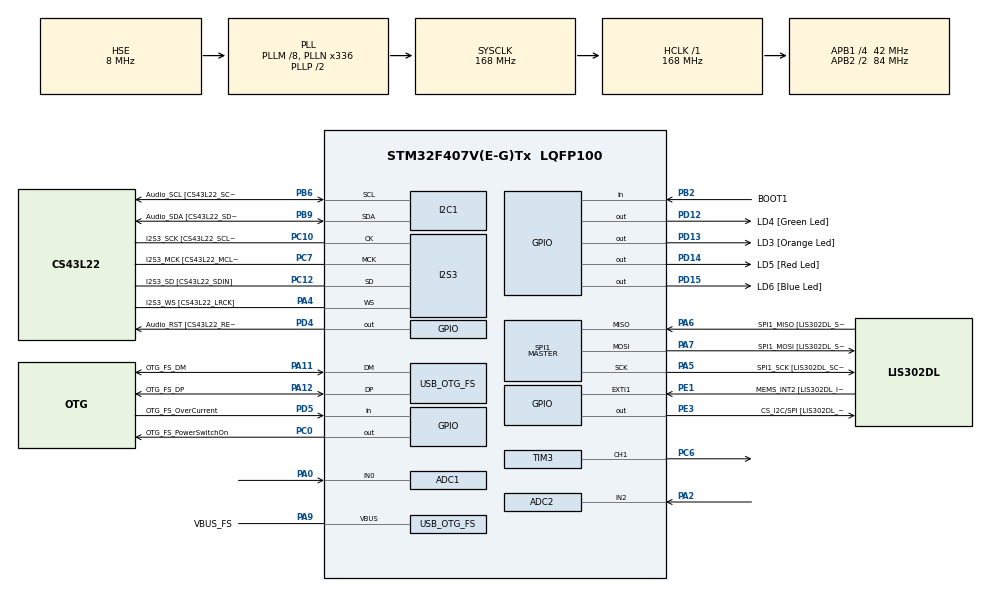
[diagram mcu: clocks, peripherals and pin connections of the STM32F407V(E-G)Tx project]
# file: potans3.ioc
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PA11.GPIO_Speed=GPIO_SPEED_FREQ_LOW
PD12.GPIO_Label=LD4 [Green Led]
PH0-OSC_IN.Signal=RCC_OSC_IN
PC10.GPIO_PuPd=GPIO_NOPULL
SPI1.VirtualType=VM_MASTER
PB10.GPIO_PuPd=GPIO_NOPULL
PA10.GPIO_PuPd=GPIO_NOPULL
PC12.Signal=I2S3_SD
PA14.GPIO_Label=SWCLK
PA6.GPIO_Label=SPI1_MISO [LIS302DL_SDO]
PB6.GPIO_Label=Audio_SCL [CS43L22_SCL]
PC15-OSC32_OUT.GPIO_Label=PC15-OSC32_OUT
PC3.GPIO_Speed=GPIO_SPEED_FREQ_LOW
RCC.SYSCLKSource=RCC_SYSCLKSOURCE_PLLCLK
PA6.GPIO_Mode=GPIO_MODE_AF_PP
PD14.GPIO_Speed=GPIO_SPEED_FREQ_LOW
PA4.Mode=Half_Duplex_Master
SPI1.Direction=SPI_DIRECTION_2LINES
I2S3.AudioFreq-Half_Duplex_Master=I2S_AUDIOFREQ_96K
PD4.Signal=GPIO_Output
RCC.APB2TimFreq_Value=168000000
Dma.ADC1.0.Direction=DMA_PERIPH_TO_MEMORY
PB6.Signal=I2C1_SCL
PC7.Signal=I2S3_MCK
PB6.Mode=I2C
PC3.Signal=I2S2_SD
PE1.Signal=GPXTI1
Dma.ADC1.0.MemDataAlignment=DMA_MDATAALIGN_HALFWORD
USB_OTG_FS.phy_itface=HCD_PHY_EMBEDDED
PB2.Signal=GPIO_Input
Dma.ADC2.1.Instance=DMA2_Stream2
I2S3.ErrorAudioFreq=-2.34 %
PA5.GPIO_PuPd=GPIO_NOPULL
Dma.ADC1.0.PeriphInc=DMA_PINC_DISABLE
I2S3.ErrorAudioFreq-Half_Duplex_Master=0.8 %
PD5.GPIO_Mode=GPIO_MODE_INPUT
PD14.GPIO_PuPd=GPIO_NOPULL
PB2.GPIO_PuPd=GPIO_NOPULL
ADC1.SamplingTime-0\#ChannelRegularConversion=ADC_SAMPLETIME_3CYCLES
SPI1.CalculateBaudRate-Full_Duplex_Master=42.0 MBits/s
Mcu.Package=LQFP100
PB9.Signal=I2C1_SDA
PD12.Signal=GPIO_Output
PA10.Signal=USB_OTG_FS_ID
PB9.GPIO_PuPd=GPIO_NOPULL
RCC.APB2CLKDivider=RCC_HCLK_DIV2
NVIC.DMA2_Stream2_IRQn=true\:0\:0\:false\:false\:true\:false\:true
RCC.APB1TimFreq_Value=84000000
Dma.ADC1.0.FIFOMode=DMA_FIFOMODE_DISABLE
ADC2.Rank-2\#ChannelRegularConversion=1
PC12.GPIO_PuPd=GPIO_NOPULL
PA6.GPIO_Speed=GPIO_SPEED_FREQ_LOW
PA12.GPIO_PuPd=GPIO_NOPULL
PA4.GPIO_Label=I2S3_WS [CS43L22_LRCK]
PD15.Signal=GPIO_Output
Dma.ADC2.1.PeriphDataAlignment=DMA_PDATAALIGN_HALFWORD
PC0.PinState=GPIO_PIN_SET
PA5.Mode=Full_Duplex_Master
I2S3.FullDuplexMode=I2S_FULLDUPLEXMODE_DISABLE
Dma.ADC1.0.Instance=DMA2_Stream0
ADC1.Rank-0\#ChannelRegularConversion=1
TIM3.AutoReloadPreload=TIM_AUTORELOAD_PRELOAD_ENABLE
PA9.GPIO_Label=VBUS_FS
PB6.GPIO_PuPd=GPIO_NOPULL
PC6.Signal=S_TIM3_CH1
PA11.GPIO_Label=OTG_FS_DM
PE1.GPIO_PuPd=GPIO_NOPULL
PC0.Signal=GPIO_Output
RCC.APB1CLKDivider=RCC_HCLK_DIV4
PC14-OSC32_IN.Signal=RCC_OSC32_IN
PA0-WKUP.Signal=ADCx_IN0
USB_HOST0.BSP.STBoard=false
PC10.GPIO_Mode=GPIO_MODE_AF_PP
PB10.GPIO_Mode=GPIO_MODE_AF_PP
Dma.ADC1.0.Priority=DMA_PRIORITY_LOW
PA9.Signal=USB_OTG_FS_VBUS
I2S3.VirtualMode=I2S_MODE_MASTER
PC7.GPIO_PuPd=GPIO_NOPULL
PB10.Signal=I2S2_CK
PA5.Signal=SPI1_SCK
Dma.ADC2.1.FIFOMode=DMA_FIFOMODE_DISABLE
PC12.Mode=Half_Duplex_Master
PE1.GPIO_Label=MEMS_INT2 [LIS302DL_INT2]
USB_HOST.VirtualModeFS=Cdc
PA7.GPIO_Speed=GPIO_SPEED_FREQ_LOW
ADC2.Channel-2\#ChannelRegularConversion=ADC_CHANNEL_2
PB2.GPIO_Mode=GPIO_MODE_INPUT
SPI1.Mode=SPI_MODE_MASTER
PD4.GPIO_Speed=GPIO_SPEED_FREQ_LOW
PE3.GPIO_PuPd=GPIO_NOPULL
PH1-OSC_OUT.GPIO_Label=PH1-OSC_OUT
ADC1.DMAContinuousRequests=ENABLE
Dma.ADC2.1.MemInc=DMA_MINC_ENABLE
PA13.Mode=Serial_Wire
PC7.GPIO_Label=I2S3_MCK [CS43L22_MCLK]
PA4.Signal=I2S3_WS
PC12.GPIO_Mode=GPIO_MODE_AF_PP
Dma.ADC2.1.Direction=DMA_PERIPH_TO_MEMORY
ADC1.master=1
PA5.GPIO_Label=SPI1_SCK [LIS302DL_SCL/SPC]
ADC2.NbrOfConversionFlag=1
PE3.GPIO_Speed=GPIO_SPEED_FREQ_LOW
PC12.GPIO_Label=I2S3_SD [CS43L22_SDIN]
PA11.Signal=USB_OTG_FS_DM
ProjectManager.HeapSize=0x200
NVIC.PriorityGroup=NVIC_PRIORITYGROUP_0
PE3.Signal=GPIO_Output
PC3.GPIO_Label=PDM_OUT [MP45DT02_DOUT]
I2S3.Instance=SPI$Index
PB6.GPIO_Speed=GPIO_SPEED_FREQ_LOW
SPI1.BaudRatePrescaler-Full_Duplex_Master=SPI_BAUDRATEPRESCALER_2
USB_HOST0.BSP.mode=Output
Mcu.Family=STM32F4
PC3.GPIO_Mode=GPIO_MODE_AF_PP
PA6.Mode=Full_Duplex_Master
RCC.CortexFreq_Value=168000000
PB10.GPIO_Speed=GPIO_SPEED_FREQ_LOW
PB6.GPIO_Mode=GPIO_MODE_AF_OD
ADC1.ContinuousConvMode=ENABLE
SH.ADCx_IN2.0=ADC2_IN2,IN2
PD15.GPIO_Speed=GPIO_SPEED_FREQ_LOW
PC10.Signal=I2S3_CK
PA7.GPIO_Mode=GPIO_MODE_AF_PP
PC0.GPIO_Label=OTG_FS_PowerSwitchOn
PA11.Mode=Host_Only
PC10.GPIO_Speed=GPIO_SPEED_FREQ_LOW
PA11.GPIO_PuPd=GPIO_NOPULL
ProjectManager.StackSize=0x400
SPI1.Mode-Full_Duplex_Master=SPI_MODE_MASTER
PD13.Signal=GPIO_Output
PA12.Signal=USB_OTG_FS_DP
ADC2.DMAContinuousRequests=ENABLE
RCC.HCLKFreq_Value=168000000
TIM3.Period=1000-1
NVIC.DMA2_Stream0_IRQn=true\:0\:0\:false\:false\:true\:false\:true
USB_HOST0.BSP.ip=GPIO
RCC.AHBFreq_Value=168000000
PH0-OSC_IN.Mode=HSE-External-Oscillator
PH0-OSC_IN.GPIO_Label=PH0-OSC_IN
TIM3.Channel-PWM\ Generation1\ CH1=TIM_CHANNEL_1
PA9.GPIO_Mode=GPIO_MODE_INPUT
ADC1.Channel-0\#ChannelRegularConversion=ADC_CHANNEL_0
RCC.HSE_VALUE=8000000
PA4.GPIO_PuPd=GPIO_NOPULL
PA4.GPIO_Speed=GPIO_SPEED_FREQ_LOW
PA6.GPIO_PuPd=GPIO_NOPULL
PC14-OSC32_IN.Mode=LSE-External-Oscillator
PA14.Mode=Serial_Wire
TIM3.Prescaler=1680-1
PA10.GPIO_Label=OTG_FS_ID
PC7.GPIO_Mode=GPIO_MODE_AF_PP
SH.ADCx_IN0.1=ADC2_IN0
Dma.ADC2.1.PeriphInc=DMA_PINC_DISABLE
SH.ADCx_IN0.0=ADC1_IN0,IN0
SH.S_TIM3_CH1.0=TIM3_CH1,PWM Generation1 CH1
USB_HOST0.BSP.i2creg=0
PH1-OSC_OUT.Mode=HSE-External-Oscillator
USB_HOST0.BSP.i2caddr=0
PD13.GPIO_Label=LD3 [Orange Led]
PA6.Signal=SPI1_MISO
USB_HOST.USBH_HandleTypeDef-CDC_FS=hUsbHostFS
PD5.GPIO_Label=OTG_FS_OverCurrent
NVIC.OTG_FS_IRQn=true\:0\:0\:false\:false\:true\:true\:true
PD15.GPIO_PuPd=GPIO_NOPULL
USB_OTG_FS.VirtualMode=Host_Only
PA10.GPIO_Speed=GPIO_SPEED_FREQ_LOW
USB_HOST0.BSP.name=Drive_VBUS_FS
PB9.GPIO_Speed=GPIO_SPEED_FREQ_LOW
ADC2.SamplingTime-2\#ChannelRegularConversion=ADC_SAMPLETIME_3CYCLES
Dma.Request1=ADC2
PC14-OSC32_IN.GPIO_Label=PC14-OSC32_IN
PC0.GPIO_PuPd=GPIO_NOPULL
Dma.Request0=ADC1
PA12.GPIO_Speed=GPIO_SPEED_FREQ_LOW
PB3.GPIO_Label=SWO
PC15-OSC32_OUT.Mode=LSE-External-Oscillator
PD12.GPIO_Speed=GPIO_SPEED_FREQ_LOW
PD15.GPIO_Label=LD6 [Blue Led]
PA7.Mode=Full_Duplex_Master
PB9.GPIO_Label=Audio_SDA [CS43L22_SDA]
PC10.GPIO_Label=I2S3_SCK [CS43L22_SCLK]
USB_HOST0.BSP.solution=PC0
PC10.Mode=Half_Duplex_Master
USB_HOST.BSP.number=1
PD5.Signal=GPIO_Input
PE1.GPIO_ModeDefaultEXTI=GPIO_MODE_EVT_RISING
PA9.GPIO_PuPd=GPIO_NOPULL
PA12.GPIO_Label=OTG_FS_DP
PA10.GPIO_Mode=GPIO_MODE_AF_PP
PA13.Signal=SYS_JTMS-SWDIO
PD4.GPIO_PuPd=GPIO_NOPULL
Dma.ADC1.0.PeriphDataAlignment=DMA_PDATAALIGN_HALFWORD
PA9.Mode=Activate_VBUS
PC0.GPIO_Speed=GPIO_SPEED_FREQ_LOW
I2S3.RealAudioFreq-Half_Duplex_Master=96.774 KHz
ProjectManager.TargetToolchain=STM32CubeIDE
PB10.GPIO_Label=CLK_IN [MP45DT02_CLK]
Dma.ADC1.0.Mode=DMA_CIRCULAR
PB9.Mode=I2C
Dma.ADC2.1.Mode=DMA_NORMAL
PC15-OSC32_OUT.Signal=RCC_OSC32_OUT
PA7.GPIO_PuPd=GPIO_NOPULL
board=STM32F407G-DISC1
PD13.GPIO_Speed=GPIO_SPEED_FREQ_LOW
PC7.GPIO_Speed=GPIO_SPEED_FREQ_LOW
RCC.VCOOutputFreq_Value=336000000
PB9.GPIO_Mode=GPIO_MODE_AF_OD
PA12.GPIO_Mode=GPIO_MODE_AF_PP
PA4.GPIO_Mode=GPIO_MODE_AF_PP
RCC.APB2Freq_Value=84000000
USB_HOST0.BSP.api=Unknown
PD4.GPIO_Label=Audio_RST [CS43L22_RESET]
PH1-OSC_OUT.Signal=RCC_OSC_OUT
PD13.GPIO_PuPd=GPIO_NOPULL
PD5.GPIO_PuPd=GPIO_NOPULL
PD14.GPIO_Label=LD5 [Red Led]
Mcu.Name=STM32F407V(E-G)Tx
PA2.Signal=ADCx_IN2
PA13.GPIO_Label=SWDIO
PD14.Signal=GPIO_Output
RCC.48MHZClocksFreq_Value=48000000
PB3.Signal=SYS_JTDO-SWO
RCC.SYSCLKFreq_VALUE=168000000
PA7.GPIO_Label=SPI1_MOSI [LIS302DL_SDA/SDI/SDO]
PA12.Mode=Host_Only
VP_USB_HOST_VS_USB_HOST_CDC_FS.Mode=CDC_FS
PA14.Signal=SYS_JTCK-SWCLK
Dma.ADC1.0.MemInc=DMA_MINC_ENABLE
PB2.GPIO_Label=BOOT1
RCC.HSI_VALUE=16000000
PA5.GPIO_Speed=GPIO_SPEED_FREQ_LOW
RCC.PLLQ=7
ADC1.NbrOfConversionFlag=1
I2S3.RealAudioFreq=93.75 KHz
Dma.ADC2.1.MemDataAlignment=DMA_MDATAALIGN_HALFWORD
RCC.PLLM=8
RCC.PLLN=336
PE3.GPIO_Label=CS_I2C/SPI [LIS302DL_CS_I2C/SPI]
Dma.ADC2.1.Priority=DMA_PRIORITY_LOW
PC7.Mode=Master_Clock_Activated
PA11.GPIO_Mode=GPIO_MODE_AF_PP
RCC.APB1Freq_Value=42000000
PA5.GPIO_Mode=GPIO_MODE_AF_PP
PC12.GPIO_Speed=GPIO_SPEED_FREQ_LOW
PC3.GPIO_PuPd=GPIO_NOPULL
PD12.GPIO_PuPd=GPIO_NOPULL
PA7.Signal=SPI1_MOSI
USB_HOST0.BSP.instance=PC0

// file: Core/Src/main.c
/* USER CODE BEGIN Header */
/**
  ******************************************************************************
  * @file           : main.c
  * @brief          : Main program body
  ******************************************************************************
  * @attention
  *
  * <h2><center>&copy; Copyright (c) 2021 STMicroelectronics.
  * All rights reserved.</center></h2>
  *
  * This software component is licensed by ST under Ultimate Liberty license
  * SLA0044, the "License"; You may not use this file except in compliance with
  * the License. You may obtain a copy of the License at:
  *                             www.st.com/SLA0044
  *
  ******************************************************************************
  */
/* USER CODE END Header */
#include "main.h"
#include "usb_host.h"

/* USER CODE BEGIN PTD */
#define bufferlength 4096
uint16_t adc_buf[bufferlength];
uint16_t adc_bufldr[bufferlength];
volatile float voltage = 0;
volatile uint8_t softCounter = 0;
volatile int timerval;
volatile int g_Indicator;
volatile int  pc6out;
#define V_REF 		(float)3.3
#define RES_12B 	4096
/* USER CODE END PTD */

ADC_HandleTypeDef hadc1;
ADC_HandleTypeDef hadc2;
DMA_HandleTypeDef hdma_adc1;
DMA_HandleTypeDef hdma_adc2;

I2C_HandleTypeDef hi2c1;

I2S_HandleTypeDef hi2s3;

SPI_HandleTypeDef hspi1;

TIM_HandleTypeDef htim3;

void SystemClock_Config(void);
static void MX_GPIO_Init(void);
static void MX_DMA_Init(void);
static void MX_I2C1_Init(void);
static void MX_I2S3_Init(void);
static void MX_SPI1_Init(void);
static void MX_ADC1_Init(void);
static void MX_TIM3_Init(void);
static void MX_ADC2_Init(void);
void MX_USB_HOST_Process(void);

int main(void)
{

  /* MCU Configuration--------------------------------------------------------*/

  /* Reset of all peripherals, Initializes the Flash interface and the Systick. */
  HAL_Init();

  /* Configure the system clock */
  SystemClock_Config();

  /* Initialize all configured peripherals */
  MX_GPIO_Init();
  MX_DMA_Init();
  MX_I2C1_Init();
  MX_I2S3_Init();
  MX_SPI1_Init();
  MX_USB_HOST_Init();
  MX_ADC1_Init();
  MX_TIM3_Init();
  MX_ADC2_Init();
  /* USER CODE BEGIN 2 */
HAL_ADC_Start_DMA(&hadc1, adc_buf, bufferlength);
HAL_ADC_Start_DMA(&hadc2, adc_bufldr, bufferlength);
HAL_TIM_PWM_Start(&htim3, TIM_CHANNEL_1);
  /* USER CODE END 2 */

  /* Infinite loop */
  while (1)
  {
    MX_USB_HOST_Process();

    /* USER CODE BEGIN 3 */
    // __HAL_TIM_SET_COMPARE(__HANDLE__, __CHANNEL__, __COMPARE__)
    //__HAL_TIM_SET_COMPARE(htim3, TIM_CHANNEL_1, 25)
  //  htim3.Instance->CCR1 = 25;  // duty cycle is .5 ms
  	//  HAL_Delay(2000);
  	  //htim3.Instance->CCR1 = 75;  // duty cycle is 1.5 ms
  	  //HAL_Delay(2000);
  	  //htim3.Instance->CCR1 = 125;  // duty cycle is 2.5 ms
  	  //HAL_Delay(2000);
    timerval=__HAL_TIM_GET_COUNTER(&htim3);
   pc6out=HAL_GPIO_ReadPin(GPIOC, GPIO_PIN_6);
  }
  /* USER CODE END 3 */
}

void SystemClock_Config(void)
{
  RCC_OscInitTypeDef RCC_OscInitStruct = {0};
  RCC_ClkInitTypeDef RCC_ClkInitStruct = {0};
  RCC_PeriphCLKInitTypeDef PeriphClkInitStruct = {0};

  /** Configure the main internal regulator output voltage
  */
  __HAL_RCC_PWR_CLK_ENABLE();
  __HAL_PWR_VOLTAGESCALING_CONFIG(PWR_REGULATOR_VOLTAGE_SCALE1);
  /** Initializes the RCC Oscillators according to the specified parameters
  * in the RCC_OscInitTypeDef structure.
  */
  RCC_OscInitStruct.OscillatorType = RCC_OSCILLATORTYPE_HSE;
  RCC_OscInitStruct.HSEState = RCC_HSE_ON;
  RCC_OscInitStruct.PLL.PLLState = RCC_PLL_ON;
  RCC_OscInitStruct.PLL.PLLSource = RCC_PLLSOURCE_HSE;
  RCC_OscInitStruct.PLL.PLLM = 8;
  RCC_OscInitStruct.PLL.PLLN = 336;
  RCC_OscInitStruct.PLL.PLLP = RCC_PLLP_DIV2;
  RCC_OscInitStruct.PLL.PLLQ = 7;
  if (HAL_RCC_OscConfig(&RCC_OscInitStruct) != HAL_OK)
  {
    Error_Handler();
  }
  /** Initializes the CPU, AHB and APB buses clocks
  */
  RCC_ClkInitStruct.ClockType = RCC_CLOCKTYPE_HCLK|RCC_CLOCKTYPE_SYSCLK
                              |RCC_CLOCKTYPE_PCLK1|RCC_CLOCKTYPE_PCLK2;
  RCC_ClkInitStruct.SYSCLKSource = RCC_SYSCLKSOURCE_PLLCLK;
  RCC_ClkInitStruct.AHBCLKDivider = RCC_SYSCLK_DIV1;
  RCC_ClkInitStruct.APB1CLKDivider = RCC_HCLK_DIV4;
  RCC_ClkInitStruct.APB2CLKDivider = RCC_HCLK_DIV2;

  if (HAL_RCC_ClockConfig(&RCC_ClkInitStruct, FLASH_LATENCY_5) != HAL_OK)
  {
    Error_Handler();
  }
  PeriphClkInitStruct.PeriphClockSelection = RCC_PERIPHCLK_I2S;
  PeriphClkInitStruct.PLLI2S.PLLI2SN = 192;
  PeriphClkInitStruct.PLLI2S.PLLI2SR = 2;
  if (HAL_RCCEx_PeriphCLKConfig(&PeriphClkInitStruct) != HAL_OK)
  {
    Error_Handler();
  }
}

static void MX_ADC1_Init(void)
{

  ADC_ChannelConfTypeDef sConfig = {0};

  /** Configure the global features of the ADC (Clock, Resolution, Data Alignment and number of conversion)
  */
  hadc1.Instance = ADC1;
  hadc1.Init.ClockPrescaler = ADC_CLOCK_SYNC_PCLK_DIV4;
  hadc1.Init.Resolution = ADC_RESOLUTION_12B;
  hadc1.Init.ScanConvMode = DISABLE;
  hadc1.Init.ContinuousConvMode = ENABLE;
  hadc1.Init.DiscontinuousConvMode = DISABLE;
  hadc1.Init.ExternalTrigConvEdge = ADC_EXTERNALTRIGCONVEDGE_NONE;
  hadc1.Init.ExternalTrigConv = ADC_SOFTWARE_START;
  hadc1.Init.DataAlign = ADC_DATAALIGN_RIGHT;
  hadc1.Init.NbrOfConversion = 1;
  hadc1.Init.DMAContinuousRequests = ENABLE;
  hadc1.Init.EOCSelection = ADC_EOC_SINGLE_CONV;
  if (HAL_ADC_Init(&hadc1) != HAL_OK)
  {
    Error_Handler();
  }
  /** Configure for the selected ADC regular channel its corresponding rank in the sequencer and its sample time.
  */
  sConfig.Channel = ADC_CHANNEL_0;
  sConfig.Rank = 1;
  sConfig.SamplingTime = ADC_SAMPLETIME_3CYCLES;
  if (HAL_ADC_ConfigChannel(&hadc1, &sConfig) != HAL_OK)
  {
    Error_Handler();
  }

}

static void MX_ADC2_Init(void)
{

  ADC_ChannelConfTypeDef sConfig = {0};

  /** Configure the global features of the ADC (Clock, Resolution, Data Alignment and number of conversion)
  */
  hadc2.Instance = ADC2;
  hadc2.Init.ClockPrescaler = ADC_CLOCK_SYNC_PCLK_DIV4;
  hadc2.Init.Resolution = ADC_RESOLUTION_12B;
  hadc2.Init.ScanConvMode = DISABLE;
  hadc2.Init.ContinuousConvMode = ENABLE;
  hadc2.Init.DiscontinuousConvMode = DISABLE;
  hadc2.Init.ExternalTrigConvEdge = ADC_EXTERNALTRIGCONVEDGE_NONE;
  hadc2.Init.ExternalTrigConv = ADC_SOFTWARE_START;
  hadc2.Init.DataAlign = ADC_DATAALIGN_RIGHT;
  hadc2.Init.NbrOfConversion = 1;
  hadc2.Init.DMAContinuousRequests = ENABLE;
  hadc2.Init.EOCSelection = ADC_EOC_SINGLE_CONV;
  if (HAL_ADC_Init(&hadc2) != HAL_OK)
  {
    Error_Handler();
  }
  /** Configure for the selected ADC regular channel its corresponding rank in the sequencer and its sample time.
  */
  sConfig.Channel = ADC_CHANNEL_2;
  sConfig.Rank = 1;
  sConfig.SamplingTime = ADC_SAMPLETIME_3CYCLES;
  if (HAL_ADC_ConfigChannel(&hadc2, &sConfig) != HAL_OK)
  {
    Error_Handler();
  }

}

static void MX_I2C1_Init(void)
{

  hi2c1.Instance = I2C1;
  hi2c1.Init.ClockSpeed = 100000;
  hi2c1.Init.DutyCycle = I2C_DUTYCYCLE_2;
  hi2c1.Init.OwnAddress1 = 0;
  hi2c1.Init.AddressingMode = I2C_ADDRESSINGMODE_7BIT;
  hi2c1.Init.DualAddressMode = I2C_DUALADDRESS_DISABLE;
  hi2c1.Init.OwnAddress2 = 0;
  hi2c1.Init.GeneralCallMode = I2C_GENERALCALL_DISABLE;
  hi2c1.Init.NoStretchMode = I2C_NOSTRETCH_DISABLE;
  if (HAL_I2C_Init(&hi2c1) != HAL_OK)
  {
    Error_Handler();
  }

}

static void MX_I2S3_Init(void)
{

  hi2s3.Instance = SPI3;
  hi2s3.Init.Mode = I2S_MODE_MASTER_TX;
  hi2s3.Init.Standard = I2S_STANDARD_PHILIPS;
  hi2s3.Init.DataFormat = I2S_DATAFORMAT_16B;
  hi2s3.Init.MCLKOutput = I2S_MCLKOUTPUT_ENABLE;
  hi2s3.Init.AudioFreq = I2S_AUDIOFREQ_96K;
  hi2s3.Init.CPOL = I2S_CPOL_LOW;
  hi2s3.Init.ClockSource = I2S_CLOCK_PLL;
  hi2s3.Init.FullDuplexMode = I2S_FULLDUPLEXMODE_DISABLE;
  if (HAL_I2S_Init(&hi2s3) != HAL_OK)
  {
    Error_Handler();
  }

}

static void MX_SPI1_Init(void)
{

  /* SPI1 parameter configuration*/
  hspi1.Instance = SPI1;
  hspi1.Init.Mode = SPI_MODE_MASTER;
  hspi1.Init.Direction = SPI_DIRECTION_2LINES;
  hspi1.Init.DataSize = SPI_DATASIZE_8BIT;
  hspi1.Init.CLKPolarity = SPI_POLARITY_LOW;
  hspi1.Init.CLKPhase = SPI_PHASE_1EDGE;
  hspi1.Init.NSS = SPI_NSS_SOFT;
  hspi1.Init.BaudRatePrescaler = SPI_BAUDRATEPRESCALER_2;
  hspi1.Init.FirstBit = SPI_FIRSTBIT_MSB;
  hspi1.Init.TIMode = SPI_TIMODE_DISABLE;
  hspi1.Init.CRCCalculation = SPI_CRCCALCULATION_DISABLE;
  hspi1.Init.CRCPolynomial = 10;
  if (HAL_SPI_Init(&hspi1) != HAL_OK)
  {
    Error_Handler();
  }

}

static void MX_TIM3_Init(void)
{

  TIM_MasterConfigTypeDef sMasterConfig = {0};
  TIM_OC_InitTypeDef sConfigOC = {0};

  htim3.Instance = TIM3;
  htim3.Init.Prescaler = 1680-1;
  htim3.Init.CounterMode = TIM_COUNTERMODE_UP;
  htim3.Init.Period = 1000-1;
  htim3.Init.ClockDivision = TIM_CLOCKDIVISION_DIV1;
  htim3.Init.AutoReloadPreload = TIM_AUTORELOAD_PRELOAD_ENABLE;
  if (HAL_TIM_PWM_Init(&htim3) != HAL_OK)
  {
    Error_Handler();
  }
  sMasterConfig.MasterOutputTrigger = TIM_TRGO_RESET;
  sMasterConfig.MasterSlaveMode = TIM_MASTERSLAVEMODE_DISABLE;
  if (HAL_TIMEx_MasterConfigSynchronization(&htim3, &sMasterConfig) != HAL_OK)
  {
    Error_Handler();
  }
  sConfigOC.OCMode = TIM_OCMODE_PWM1;
  sConfigOC.Pulse = 0;
  sConfigOC.OCPolarity = TIM_OCPOLARITY_HIGH;
  sConfigOC.OCFastMode = TIM_OCFAST_DISABLE;
  if (HAL_TIM_PWM_ConfigChannel(&htim3, &sConfigOC, TIM_CHANNEL_1) != HAL_OK)
  {
    Error_Handler();
  }
  HAL_TIM_MspPostInit(&htim3);

}

static void MX_DMA_Init(void)
{

  /* DMA controller clock enable */
  __HAL_RCC_DMA2_CLK_ENABLE();

  /* DMA interrupt init */
  /* DMA2_Stream0_IRQn interrupt configuration */
  HAL_NVIC_SetPriority(DMA2_Stream0_IRQn, 0, 0);
  HAL_NVIC_EnableIRQ(DMA2_Stream0_IRQn);
  /* DMA2_Stream2_IRQn interrupt configuration */
  HAL_NVIC_SetPriority(DMA2_Stream2_IRQn, 0, 0);
  HAL_NVIC_EnableIRQ(DMA2_Stream2_IRQn);

}

static void MX_GPIO_Init(void)
{
  GPIO_InitTypeDef GPIO_InitStruct = {0};

  /* GPIO Ports Clock Enable */
  __HAL_RCC_GPIOE_CLK_ENABLE();
  __HAL_RCC_GPIOC_CLK_ENABLE();
  __HAL_RCC_GPIOH_CLK_ENABLE();
  __HAL_RCC_GPIOA_CLK_ENABLE();
  __HAL_RCC_GPIOB_CLK_ENABLE();
  __HAL_RCC_GPIOD_CLK_ENABLE();

  /*Configure GPIO pin Output Level */
  HAL_GPIO_WritePin(CS_I2C_SPI_GPIO_Port, CS_I2C_SPI_Pin, GPIO_PIN_RESET);

  /*Configure GPIO pin Output Level */
  HAL_GPIO_WritePin(OTG_FS_PowerSwitchOn_GPIO_Port, OTG_FS_PowerSwitchOn_Pin, GPIO_PIN_SET);

  /*Configure GPIO pin Output Level */
  HAL_GPIO_WritePin(GPIOD, LD4_Pin|LD3_Pin|LD5_Pin|LD6_Pin
                          |Audio_RST_Pin, GPIO_PIN_RESET);

  /*Configure GPIO pin : CS_I2C_SPI_Pin */
  GPIO_InitStruct.Pin = CS_I2C_SPI_Pin;
  GPIO_InitStruct.Mode = GPIO_MODE_OUTPUT_PP;
  GPIO_InitStruct.Pull = GPIO_NOPULL;
  GPIO_InitStruct.Speed = GPIO_SPEED_FREQ_LOW;
  HAL_GPIO_Init(CS_I2C_SPI_GPIO_Port, &GPIO_InitStruct);

  /*Configure GPIO pin : OTG_FS_PowerSwitchOn_Pin */
  GPIO_InitStruct.Pin = OTG_FS_PowerSwitchOn_Pin;
  GPIO_InitStruct.Mode = GPIO_MODE_OUTPUT_PP;
  GPIO_InitStruct.Pull = GPIO_NOPULL;
  GPIO_InitStruct.Speed = GPIO_SPEED_FREQ_LOW;
  HAL_GPIO_Init(OTG_FS_PowerSwitchOn_GPIO_Port, &GPIO_InitStruct);

  /*Configure GPIO pin : PDM_OUT_Pin */
  GPIO_InitStruct.Pin = PDM_OUT_Pin;
  GPIO_InitStruct.Mode = GPIO_MODE_AF_PP;
  GPIO_InitStruct.Pull = GPIO_NOPULL;
  GPIO_InitStruct.Speed = GPIO_SPEED_FREQ_LOW;
  GPIO_InitStruct.Alternate = GPIO_AF5_SPI2;
  HAL_GPIO_Init(PDM_OUT_GPIO_Port, &GPIO_InitStruct);

  /*Configure GPIO pin : BOOT1_Pin */
  GPIO_InitStruct.Pin = BOOT1_Pin;
  GPIO_InitStruct.Mode = GPIO_MODE_INPUT;
  GPIO_InitStruct.Pull = GPIO_NOPULL;
  HAL_GPIO_Init(BOOT1_GPIO_Port, &GPIO_InitStruct);

  /*Configure GPIO pin : CLK_IN_Pin */
  GPIO_InitStruct.Pin = CLK_IN_Pin;
  GPIO_InitStruct.Mode = GPIO_MODE_AF_PP;
  GPIO_InitStruct.Pull = GPIO_NOPULL;
  GPIO_InitStruct.Speed = GPIO_SPEED_FREQ_LOW;
  GPIO_InitStruct.Alternate = GPIO_AF5_SPI2;
  HAL_GPIO_Init(CLK_IN_GPIO_Port, &GPIO_InitStruct);

  /*Configure GPIO pins : LD4_Pin LD3_Pin LD5_Pin LD6_Pin
                           Audio_RST_Pin */
  GPIO_InitStruct.Pin = LD4_Pin|LD3_Pin|LD5_Pin|LD6_Pin
                          |Audio_RST_Pin;
  GPIO_InitStruct.Mode = GPIO_MODE_OUTPUT_PP;
  GPIO_InitStruct.Pull = GPIO_NOPULL;
  GPIO_InitStruct.Speed = GPIO_SPEED_FREQ_LOW;
  HAL_GPIO_Init(GPIOD, &GPIO_InitStruct);

  /*Configure GPIO pin : OTG_FS_OverCurrent_Pin */
  GPIO_InitStruct.Pin = OTG_FS_OverCurrent_Pin;
  GPIO_InitStruct.Mode = GPIO_MODE_INPUT;
  GPIO_InitStruct.Pull = GPIO_NOPULL;
  HAL_GPIO_Init(OTG_FS_OverCurrent_GPIO_Port, &GPIO_InitStruct);

  /*Configure GPIO pin : MEMS_INT2_Pin */
  GPIO_InitStruct.Pin = MEMS_INT2_Pin;
  GPIO_InitStruct.Mode = GPIO_MODE_EVT_RISING;
  GPIO_InitStruct.Pull = GPIO_NOPULL;
  HAL_GPIO_Init(MEMS_INT2_GPIO_Port, &GPIO_InitStruct);

}

/* USER CODE BEGIN 4 */
void HAL_ADC_ConvCpltCallback(ADC_HandleTypeDef* hadc)
{
	if (hadc==&hadc1)
	{
HAL_GPIO_TogglePin(GPIOD, GPIO_PIN_12);
htim3.Instance->CCR1 =((adc_buf[0]*50)/4096)+50 ;
voltage = HAL_ADC_GetValue(&hadc1) / (float)RES_12B * V_REF;
	}
	if (hadc==&hadc2)
	{
    pc6out=HAL_ADC_GetValue(&hadc2);
	}
}

/**
  * @brief  Regular conversion half DMA transfer callback in non blocking mode
  * @param  hadc pointer to a ADC_HandleTypeDef structure that contains
  *         the configuration information for the specified ADC.
  * @retval None
  */
 void HAL_ADC_ConvHalfCpltCallback(ADC_HandleTypeDef* hadc)
{
	 HAL_GPIO_TogglePin(GPIOD, GPIO_PIN_12);
}
 void HAL_TIM_PeriodElapsedCallback(TIM_HandleTypeDef *htim)
 {

     g_Indicator = g_Indicator ? 0 : 999;
 }

/* USER CODE END 4 */

void Error_Handler(void)
{
  __disable_irq();
  while (1)
  {
  }
}

/************************ (C) COPYRIGHT STMicroelectronics *****END OF FILE****/
